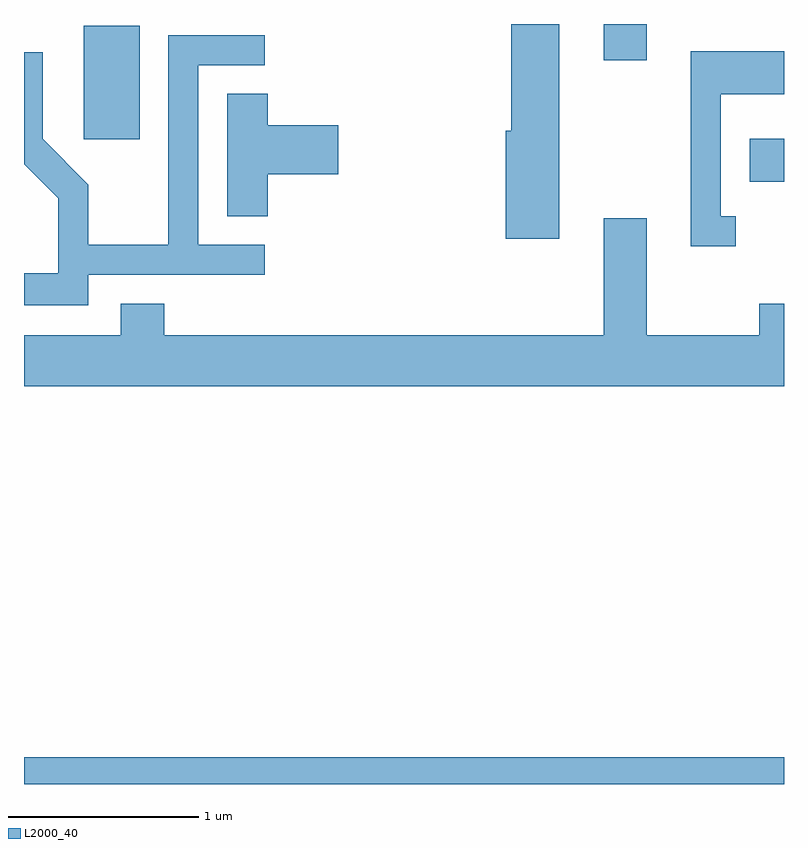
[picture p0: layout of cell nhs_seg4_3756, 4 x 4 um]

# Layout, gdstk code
import gdstk
lib = gdstk.Library(unit=1e-6, precision=1e-09)
def R(c, l, rs):  # rectangles x0, y0, x1, y1
    for r in rs: c.add(gdstk.rectangle(r[:2], r[2:], *l))
def P(c, l, *ps):  # polygons
    for p in ps: c.add(gdstk.Polygon(p, *l))
L2000_40 = (2000, 40)

nhs_seg4_3756 = lib.new_cell('nhs_seg4_3756')
R(nhs_seg4_3756, L2000_40, [(295.611,1285.982,299.611,1286.124), (299.431,1289.151,299.611,1289.379), (295.926,1289.376,296.219,1289.974), (298.661,1289.791,298.889,1289.982)])
P(nhs_seg4_3756, L2000_40, [(298.429,1289.982),(298.176,1289.982),(298.176,1289.419),(298.146,1289.419),(298.146,1288.851),(298.429,1288.851)],
  [(295.949,1288.661),(296.878,1288.661),(296.878,1288.819),(296.529,1288.819),(296.529,1289.766),(296.878,1289.766),(296.878,1289.924),(296.371,1289.924),(296.371,1288.819),(295.949,1288.819),(295.949,1289.137),(295.709,1289.377),(295.709,1289.833),(295.611,1289.833),(295.611,1289.244),(295.791,1289.064),(295.791,1288.669),(295.611,1288.669),(295.611,1288.501),(295.949,1288.501)],
  [(299.358,1288.969),(299.279,1288.969),(299.279,1289.611),(299.611,1289.611),(299.611,1289.839),(299.121,1289.839),(299.121,1288.811),(299.358,1288.811)],
  [(296.894,1289.191),(297.264,1289.191),(297.264,1289.449),(296.894,1289.449),(296.894,1289.614),(296.681,1289.614),(296.681,1288.971),(296.894,1288.971)],
  [(299.611,1288.509),(299.481,1288.509),(299.481,1288.344),(298.889,1288.344),(298.889,1288.959),(298.661,1288.959),(298.661,1288.344),(296.349,1288.344),(296.349,1288.509),(296.121,1288.509),(296.121,1288.344),(295.611,1288.344),(295.611,1288.076),(299.611,1288.076)])

lib.write_gds('nhs_seg4_3756.gds')
